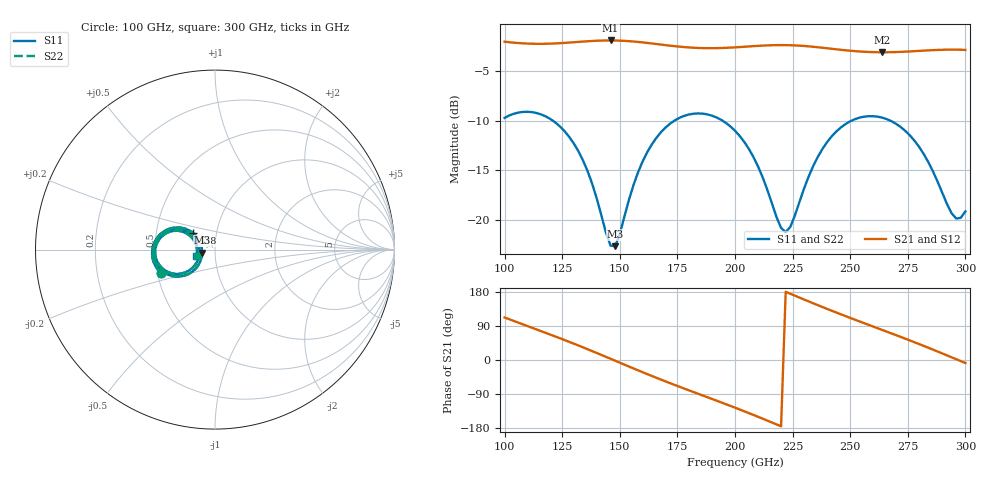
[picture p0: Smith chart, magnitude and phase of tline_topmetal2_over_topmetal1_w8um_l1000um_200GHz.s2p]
#  GHZ S DB R 50
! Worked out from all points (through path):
!   101 points, 100 GHz to 300 GHz, reference 50 ohm
!   highest |S21| = -1.86 dB at 146 GHz (marker M1); lowest = -3.1 dB at 264 GHz (marker M2)
!   group delay of S21, straight-line fit = 6.68 ps
!   lowest |S11| = -22.7 dB at 148 GHz (marker M3), VSWR 1.16, Z = 43.3 - j1.42 ohm
!   |S11| at or under -10 dB: 121 GHz to 173.6 GHz (52.54 GHz wide, 35.7 % of centre); 194.7 GHz to 250.4 GHz (55.71 GHz wide, 25 % of centre); 267.6 GHz to end of sweep
!   |S22| runs from -22.7 to -9.1 dB; largest |S21 - S12| = 9.2e-14
!   S11 on the Smith chart (normalised r, x): 100 GHz: 0.52, -0.15; 138 GHz: 0.77, +0.15; 300 GHz: 0.81, -0.06
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100  -9.70 -156.6  -1.99 112.2  -1.99 112.2  -9.69 -156.5
108  -9.09 -171.8  -2.16 93.9  -2.16 93.9  -9.09 -171.8
118  -9.57 169.6  -2.20 71.2  -2.20 71.2  -9.56 169.7
126  -11.04 155.6  -2.11 52.7  -2.11 52.7  -11.03 155.7
134  -13.99 144.7  -1.98 33.5  -1.98 33.5  -13.98 144.8
138  -16.36 142.9  -1.92 23.5  -1.92 23.5  -16.34 143.0
146  -22.63 173.5  -1.86 3.2  -1.86 3.2  -22.59 173.5
148  -22.68 -167.2  -1.87 -1.9  -1.87 -1.9  -22.65 -167.3
158  -15.16 -135.6  -2.01 -27.5  -2.01 -27.5  -15.16 -135.7
168  -11.11 -147.9  -2.29 -52.0  -2.29 -52.0  -11.11 -147.9
184  -9.25 -175.6  -2.62 -89.1  -2.62 -89.1  -9.24 -175.6
200  -11.00 157.6  -2.56 -125.8  -2.56 -125.8  -10.99 157.7
212  -15.71 146.6  -2.39 -154.8  -2.39 -154.8  -15.69 146.6
222  -21.25 -176.3  -2.34 179.9  -2.34 179.9  -21.22 -176.5
234  -14.54 -141.2  -2.50 149.6  -2.50 149.6  -14.55 -141.3
248  -10.32 -158.4  -2.86 115.8  -2.86 115.8  -10.32 -158.5
264  -9.68 175.6  -3.06 79.1  -3.06 79.1  -9.69 175.4
268  -10.04 169.2  -3.05 70.0  -3.05 70.0  -10.05 169.1
278  -12.03 155.4  -2.95 46.6  -2.95 46.6  -12.05 155.1
286  -15.14 150.6  -2.84 27.2  -2.84 27.2  -15.18 150.2
294  -19.35 167.8  -2.79 7.2  -2.79 7.2  -19.45 167.5
300  -19.15 -160.5  -2.82 -8.0  -2.82 -8.0  -19.27 -160.2
